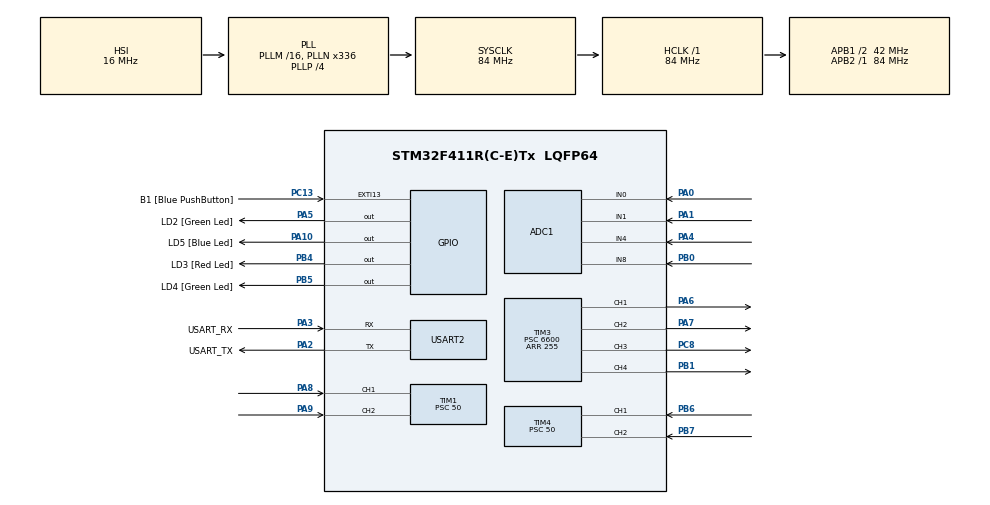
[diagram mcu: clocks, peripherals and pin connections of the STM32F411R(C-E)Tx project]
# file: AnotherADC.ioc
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ADC1.Channel-0\#ChannelRegularConversion=ADC_CHANNEL_0
ADC1.Channel-1\#ChannelRegularConversion=ADC_CHANNEL_1
ADC1.Channel-2\#ChannelRegularConversion=ADC_CHANNEL_4
ADC1.Channel-3\#ChannelRegularConversion=ADC_CHANNEL_8
ADC1.Channel-4\#ChannelRegularConversion=ADC_CHANNEL_TEMPSENSOR
ADC1.ContinuousConvMode=DISABLE
ADC1.NbrOfConversion=5
ADC1.NbrOfConversionFlag=1
ADC1.Rank-0\#ChannelRegularConversion=1
ADC1.Rank-1\#ChannelRegularConversion=2
ADC1.Rank-2\#ChannelRegularConversion=3
ADC1.Rank-3\#ChannelRegularConversion=4
ADC1.Rank-4\#ChannelRegularConversion=5
ADC1.SamplingTime-0\#ChannelRegularConversion=ADC_SAMPLETIME_480CYCLES
ADC1.SamplingTime-1\#ChannelRegularConversion=ADC_SAMPLETIME_480CYCLES
ADC1.SamplingTime-2\#ChannelRegularConversion=ADC_SAMPLETIME_480CYCLES
ADC1.SamplingTime-3\#ChannelRegularConversion=ADC_SAMPLETIME_480CYCLES
ADC1.SamplingTime-4\#ChannelRegularConversion=ADC_SAMPLETIME_480CYCLES
ADC1.ScanConvMode=ENABLE
ADC1.master=1
Dma.ADC1.0.Direction=DMA_PERIPH_TO_MEMORY
Dma.ADC1.0.FIFOMode=DMA_FIFOMODE_DISABLE
Dma.ADC1.0.Instance=DMA2_Stream0
Dma.ADC1.0.MemDataAlignment=DMA_MDATAALIGN_HALFWORD
Dma.ADC1.0.MemInc=DMA_MINC_ENABLE
Dma.ADC1.0.Mode=DMA_NORMAL
Dma.ADC1.0.PeriphDataAlignment=DMA_PDATAALIGN_HALFWORD
Dma.ADC1.0.PeriphInc=DMA_PINC_DISABLE
Dma.ADC1.0.Priority=DMA_PRIORITY_MEDIUM
Dma.Request0=ADC1
FREERTOS.Tasks01=defaultTask,24,128,StartDefaultTask,Default,NULL,Dynamic,NULL,NULL;motorsTask,8,128,StartTask02,Default,NULL,Dynamic,NULL,NULL
FREERTOS.configUSE_NEWLIB_REENTRANT=1
Mcu.Family=STM32F4
Mcu.Name=STM32F411R(C-E)Tx
Mcu.Package=LQFP64
NVIC.DMA2_Stream0_IRQn=true\:5\:0\:false\:false\:true\:true\:false\:true\:true
NVIC.PriorityGroup=NVIC_PRIORITYGROUP_4
NVIC.TIM1_CC_IRQn=true\:5\:0\:false\:false\:true\:true\:true\:true\:true
NVIC.TIM2_IRQn=true\:15\:0\:false\:false\:true\:false\:false\:true\:true
NVIC.TIM4_IRQn=true\:5\:0\:false\:false\:true\:true\:true\:true\:true
NVIC.TimeBase=TIM2_IRQn
NVIC.TimeBaseIP=TIM2
PA0-WKUP.Signal=ADCx_IN0
PA1.Signal=ADCx_IN1
PA10.GPIO_Label=LD5 [Blue Led]
PA10.Signal=GPIO_Output
PA13.GPIO_Label=TMS
PA13.Mode=Serial_Wire
PA13.Signal=SYS_JTMS-SWDIO
PA14.GPIO_Label=TCK
PA14.Mode=Serial_Wire
PA14.Signal=SYS_JTCK-SWCLK
PA2.GPIO_Label=USART_TX
PA2.Mode=Asynchronous
PA2.Signal=USART2_TX
PA3.GPIO_Label=USART_RX
PA3.Mode=Asynchronous
PA3.Signal=USART2_RX
PA4.Signal=ADCx_IN4
PA5.GPIO_Label=LD2 [Green Led]
PA5.Signal=GPIO_Output
PA6.Signal=S_TIM3_CH1
PA7.Signal=S_TIM3_CH2
PA8.Signal=S_TIM1_CH1
PA9.Signal=S_TIM1_CH2
PB0.Signal=ADCx_IN8
PB1.Signal=S_TIM3_CH4
PB3.GPIO_Label=SWO
PB3.Signal=SYS_JTDO-SWO
PB4.GPIO_Label=LD3 [Red Led]
PB4.Signal=GPIO_Output
PB5.GPIO_Label=LD4 [Green Led]
PB5.Signal=GPIO_Output
PB6.Signal=S_TIM4_CH1
PB7.Signal=S_TIM4_CH2
PC13-ANTI_TAMP.GPIO_Label=B1 [Blue PushButton]
PC13-ANTI_TAMP.GPIO_ModeDefaultEXTI=GPIO_MODE_IT_FALLING
PC13-ANTI_TAMP.Signal=GPXTI13
PC14-OSC32_IN.Mode=LSE-External-Oscillator
PC14-OSC32_IN.Signal=RCC_OSC32_IN
PC15-OSC32_OUT.Mode=LSE-External-Oscillator
PC15-OSC32_OUT.Signal=RCC_OSC32_OUT
PC8.Signal=S_TIM3_CH3
PH0\ -\ OSC_IN.Mode=HSE-External-Clock-Source
PH0\ -\ OSC_IN.Signal=RCC_OSC_IN
PH1\ -\ OSC_OUT.Mode=HSE-External-Clock-Source
PH1\ -\ OSC_OUT.Signal=RCC_OSC_OUT
ProjectManager.HeapSize=0x200
ProjectManager.StackSize=0x400
ProjectManager.TargetToolchain=STM32CubeIDE
RCC.48MHZClocksFreq_Value=84000000
RCC.AHBFreq_Value=84000000
RCC.APB1CLKDivider=RCC_HCLK_DIV2
RCC.APB1Freq_Value=42000000
RCC.APB1TimFreq_Value=84000000
RCC.APB2Freq_Value=84000000
RCC.APB2TimFreq_Value=84000000
RCC.CortexFreq_Value=84000000
RCC.FLatency-AdvancedSettings=FLASH_LATENCY_2
RCC.HCLKFreq_Value=84000000
RCC.HSE_VALUE=8000000
RCC.HSI_VALUE=16000000
RCC.PLLN=336
RCC.PLLP=RCC_PLLP_DIV4
RCC.SYSCLKFreq_VALUE=84000000
RCC.SYSCLKSource=RCC_SYSCLKSOURCE_PLLCLK
RCC.VCOOutputFreq_Value=336000000
SH.ADCx_IN0.0=ADC1_IN0,IN0
SH.ADCx_IN1.0=ADC1_IN1,IN1
SH.ADCx_IN4.0=ADC1_IN4,IN4
SH.ADCx_IN8.0=ADC1_IN8,IN8
SH.S_TIM1_CH1.0=TIM1_CH1,Encoder_Interface
SH.S_TIM1_CH2.0=TIM1_CH2,Encoder_Interface
SH.S_TIM3_CH1.0=TIM3_CH1,PWM Generation1 CH1
SH.S_TIM3_CH2.0=TIM3_CH2,PWM Generation2 CH2
SH.S_TIM3_CH3.0=TIM3_CH3,PWM Generation3 CH3
SH.S_TIM3_CH4.0=TIM3_CH4,PWM Generation4 CH4
SH.S_TIM4_CH1.0=TIM4_CH1,Encoder_Interface
SH.S_TIM4_CH2.0=TIM4_CH2,Encoder_Interface
TIM1.EncoderMode=TIM_ENCODERMODE_TI12
TIM1.IC1Polarity=TIM_ICPOLARITY_FALLING
TIM1.IC2Polarity=TIM_ICPOLARITY_FALLING
TIM1.Prescaler=50
TIM3.Channel-PWM\ Generation1\ CH1=TIM_CHANNEL_1
TIM3.Channel-PWM\ Generation2\ CH2=TIM_CHANNEL_2
TIM3.Channel-PWM\ Generation3\ CH3=TIM_CHANNEL_3
TIM3.Channel-PWM\ Generation4\ CH4=TIM_CHANNEL_4
TIM3.Period=255
TIM3.Prescaler=6600
TIM3.Pulse-PWM\ Generation1\ CH1=255
TIM3.Pulse-PWM\ Generation2\ CH2=200
TIM3.Pulse-PWM\ Generation3\ CH3=100
TIM3.Pulse-PWM\ Generation4\ CH4=50
TIM4.EncoderMode=TIM_ENCODERMODE_TI12
TIM4.IC1Polarity=TIM_ICPOLARITY_FALLING
TIM4.IC2Polarity=TIM_ICPOLARITY_FALLING
TIM4.Prescaler=50
USART2.VirtualMode=VM_ASYNC
VP_ADC1_TempSens_Input.Mode=IN-TempSens
VP_FREERTOS_VS_CMSIS_V2.Mode=CMSIS_V2
VP_SYS_VS_tim2.Mode=TIM2
VP_TIM3_VS_ClockSourceINT.Mode=Internal
board=NUCLEO-F411RE

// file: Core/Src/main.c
/* USER CODE BEGIN Header */
/**
  ******************************************************************************
  * @file           : main.c
  * @brief          : Main program body
  ******************************************************************************
  * @attention
  *
  * Copyright (c) 2025 STMicroelectronics.
  * All rights reserved.
  *
  * This software is licensed under terms that can be found in the LICENSE file
  * in the root directory of this software component.
  * If no LICENSE file comes with this software, it is provided AS-IS.
  *
  ******************************************************************************
  */
/* USER CODE END Header */
#include "main.h"
#include "cmsis_os.h"

/* USER CODE BEGIN Includes */

#include <stdio.h>
#include <string.h>

/* USER CODE END Includes */

ADC_HandleTypeDef hadc1;
DMA_HandleTypeDef hdma_adc1;

TIM_HandleTypeDef htim1;
TIM_HandleTypeDef htim3;
TIM_HandleTypeDef htim4;

UART_HandleTypeDef huart2;

/* Definitions for defaultTask */
osThreadId_t defaultTaskHandle;
const osThreadAttr_t defaultTask_attributes = {
  .name = "defaultTask",
  .stack_size = 128 * 4,
  .priority = (osPriority_t) osPriorityNormal,
};
/* Definitions for motorsTask */
osThreadId_t motorsTaskHandle;
const osThreadAttr_t motorsTask_attributes = {
  .name = "motorsTask",
  .stack_size = 128 * 4,
  .priority = (osPriority_t) osPriorityLow,
};
/* USER CODE BEGIN PV */

uint16_t   aDistH1=0;
uint16_t   aDistH2=0;
uint16_t   aDistL=0;
uint16_t   aDistR=0;
uint16_t   cTemp=0;
uint16_t   rawValues[5];
uint16_t   filteredValues[5];
char msg[20];
uint8_t  convCompleted=0;
int count = 0;
uint32_t leftMotorCounter = 0;
uint32_t rightMotorCounter = 0;

/* USER CODE END PV */

void SystemClock_Config(void);
static void MX_GPIO_Init(void);
static void MX_DMA_Init(void);
static void MX_USART2_UART_Init(void);
static void MX_ADC1_Init(void);
static void MX_TIM3_Init(void);
static void MX_TIM1_Init(void);
static void MX_TIM4_Init(void);
void StartDefaultTask(void *argument);
void StartTask02(void *argument);

/* USER CODE BEGIN PFP */

void DriveMotor(uint8_t channel, uint8_t dir, uint8_t speed); //channel 0 -left; 1 right. dir 0 forward; 1 backwards
void DriveMotorCL(uint8_t channel, uint8_t dir, uint8_t speed, uint32_t distance);

void NavGoForward(void); //go forward with lane centering finish when facing wall
void NavTurnLeft(void);
void NavTurnRight(void);

void StartExplore(void);

/* USER CODE END PFP */

/* USER CODE BEGIN 0 */

void HAL_ADC_ConvCpltCallback(ADC_HandleTypeDef *hadc)
{
	convCompleted=1;
}

void HAL_TIM_IC_CaptureCallback(TIM_HandleTypeDef *htim)
{
    if (htim->Instance == TIM1)            /* TIM1 interrupt */
    {
    	leftMotorCounter  = __HAL_TIM_GetCounter(htim);                     /* do your own processing */
    }
    else if (htim->Instance == TIM4)       /* TIM3 interrupt */
    {
    	rightMotorCounter = __HAL_TIM_GetCounter(htim);
    }
}

void DriveMotor(uint8_t channel, uint8_t dir, uint8_t speed )
{
	uint32_t pwm_period = __HAL_TIM_GET_AUTORELOAD(&htim3);  // Get ARR (Auto-Reload Register)
	uint32_t pulse = (pwm_period + 1) * speed / 100;
	if (channel) {
		//right motor
		HAL_TIM_PWM_Stop(&htim3, TIM_CHANNEL_2);
		HAL_TIM_PWM_Stop(&htim3, TIM_CHANNEL_4);
		if (dir) {
			//backwards
			__HAL_TIM_SET_COMPARE(&htim3, TIM_CHANNEL_2, pulse);
			HAL_TIM_PWM_Start(&htim3, TIM_CHANNEL_2);
			HAL_TIM_PWM_Stop(&htim3, TIM_CHANNEL_4);
		} else {
			//forward
			__HAL_TIM_SET_COMPARE(&htim3, TIM_CHANNEL_4, pulse);
			HAL_TIM_PWM_Stop(&htim3, TIM_CHANNEL_2);
			HAL_TIM_PWM_Start(&htim3, TIM_CHANNEL_4);
		}
	} else {
		//left motor
		HAL_TIM_PWM_Stop(&htim3, TIM_CHANNEL_1);
		HAL_TIM_PWM_Stop(&htim3, TIM_CHANNEL_3);
		if (dir) {
			//backwards
			__HAL_TIM_SET_COMPARE(&htim3, TIM_CHANNEL_1, pulse);
			HAL_TIM_PWM_Start(&htim3, TIM_CHANNEL_1);
			HAL_TIM_PWM_Stop(&htim3, TIM_CHANNEL_3);
		} else {
			//forward
			__HAL_TIM_SET_COMPARE(&htim3, TIM_CHANNEL_3, pulse);
			HAL_TIM_PWM_Stop(&htim3, TIM_CHANNEL_1);
			HAL_TIM_PWM_Start(&htim3, TIM_CHANNEL_3);
		}
	}
}

void DriveMotorCL(uint8_t channel, uint8_t dir, uint8_t speed, uint32_t distance)
{
	//how many counts per one wheel turn?
	//prevent counter from overflow
	//DriveMotor(channel, dir, speed);
}

void NavTurnLeft() {
	DriveMotor(0, 0, 50);
	DriveMotor(1, 1, 50);
	osDelay(240); //should read encoder steps
	DriveMotor(0, 1, 0);
	DriveMotor(1, 1, 0);
	// add backward spin on the other wheel
}

void NavTurnRight() {
	DriveMotor(0, 1, 50);
	DriveMotor(1, 0, 50);
	osDelay(240); //should read encoder steps
	DriveMotor(0, 1, 0);
	DriveMotor(1, 1, 0);
}

void NavGoForward()
{
	//check front sensors
	// run  with PID on left right sensorsa in loop
	//finish when facing wall
}

/* USER CODE END 0 */

int main(void)
{

  /* MCU Configuration--------------------------------------------------------*/

  /* Reset of all peripherals, Initializes the Flash interface and the Systick. */
  HAL_Init();

  /* Configure the system clock */
  SystemClock_Config();

  /* Initialize all configured peripherals */
  MX_GPIO_Init();
  MX_DMA_Init();
  MX_USART2_UART_Init();
  MX_ADC1_Init();
  MX_TIM3_Init();
  MX_TIM1_Init();
  MX_TIM4_Init();
  /* USER CODE BEGIN 2 */

  HAL_TIM_Encoder_Start_IT(&htim4, TIM_CHANNEL_ALL);
  HAL_TIM_Encoder_Start_IT(&htim1, TIM_CHANNEL_ALL);

  //HAL_ADC_Start_DMA(&hadc1, (uint16_t *)rawValues, 5);
  //THISWORKS
  //HAL_TIM_PWM_Stop(&htim3, TIM_CHANNEL_1);
 // HAL_TIM_PWM_Start(&htim3, TIM_CHANNEL_2);

  //HAL_TIM_PWM_Start(&htim3, TIM_CHANNEL_3);

  //Ahead motor left:
 // HAL_TIM_PWM_Start(&htim3, TIM_CHANNEL_1);
  //HAL_TIM_PWM_Stop(&htim3, TIM_CHANNEL_3);

  //Ahead motor right:
  //HAL_TIM_PWM_Start(&htim3, TIM_CHANNEL_2);
  //HAL_TIM_PWM_Stop(&htim3, TIM_CHANNEL_4);

  //HAL_TIM_PWM_
  //j = HAL_GPIO_ReadPin(GPIOC, B1_Pin);
  //if (j == 1 ) {
  //HAL_Delay(500);
  //HAL_GPIO_WritePin(GPIOA, , GPIO_PIN_RESET);
  //HAL_Delay(500);
  //HAL_GPIO_WritePin(GPIOA, LD2_Pin, GPIO_PIN_SET);
  //}else {
	//  HAL_GPIO_WritePin(GPIOA, LD2_Pin, GPIO_PIN_RESET);
	//  HAL_Delay(500);

  //}

  /* USER CODE END 2 */

  /* Init scheduler */
  osKernelInitialize();

  /* Create the thread(s) */
  /* creation of defaultTask */
  defaultTaskHandle = osThreadNew(StartDefaultTask, NULL, &defaultTask_attributes);

  /* creation of motorsTask */
  motorsTaskHandle = osThreadNew(StartTask02, NULL, &motorsTask_attributes);

  /* Start scheduler */
  osKernelStart();

  /* We should never get here as control is now taken by the scheduler */

  /* Infinite loop */
  while (1)
  {

    /* USER CODE BEGIN 3 */
	//  count ++;
	  convCompleted=0;
	  HAL_ADC_Start_DMA(&hadc1, (uint16_t *)rawValues, 5);
	  while(!convCompleted) {

	  }
	  //Filter_ADCs();

	//  printf("test \n");

	  //for(uint8_t i=0; i<hadc1.Init.NbrOfConversion; i++ ) {
	//	  aDistH1 = (uint16_t )  rawValues[0];
	//	  aDistH2 = (uint16_t )  rawValues[1];
	//	  aDistL = (uint16_t )  rawValues[2];
	//	  aDistR = (uint16_t )  rawValues[3];
	//	  cTemp = (uint16_t )  rawValues[4];
	//  //}
	 // HAL_ADC_Stop(&hadc1);

	//  sprintf(msg, "DistH1: %hu \r\t\t", aDistH1);
	  //HAL_UART_Transmit(&huart2, (uint8_t *) msg, strlen(msg), HAL_MAX_DELAY);

//	  sprintf(msg, "DistH2: %hu \r\n", aDistH2);
	//  HAL_UART_Transmit(&huart2, (uint8_t *) msg, strlen(msg), HAL_MAX_DELAY);

	//  sprintf(msg, "cTemp: %hu \r\n", cTemp);
	 // HAL_UART_Transmit(&huart2, (uint8_t *) msg, strlen(msg), HAL_MAX_DELAY);
	 if (count > 600) {
		 count = 1;
	 }
	 HAL_Delay(6);
  }
  /* USER CODE END 3 */
}

void SystemClock_Config(void)
{
  RCC_OscInitTypeDef RCC_OscInitStruct = {0};
  RCC_ClkInitTypeDef RCC_ClkInitStruct = {0};

  /** Configure the main internal regulator output voltage
  */
  __HAL_RCC_PWR_CLK_ENABLE();
  __HAL_PWR_VOLTAGESCALING_CONFIG(PWR_REGULATOR_VOLTAGE_SCALE1);

  /** Initializes the RCC Oscillators according to the specified parameters
  * in the RCC_OscInitTypeDef structure.
  */
  RCC_OscInitStruct.OscillatorType = RCC_OSCILLATORTYPE_HSI;
  RCC_OscInitStruct.HSIState = RCC_HSI_ON;
  RCC_OscInitStruct.HSICalibrationValue = RCC_HSICALIBRATION_DEFAULT;
  RCC_OscInitStruct.PLL.PLLState = RCC_PLL_ON;
  RCC_OscInitStruct.PLL.PLLSource = RCC_PLLSOURCE_HSI;
  RCC_OscInitStruct.PLL.PLLM = 16;
  RCC_OscInitStruct.PLL.PLLN = 336;
  RCC_OscInitStruct.PLL.PLLP = RCC_PLLP_DIV4;
  RCC_OscInitStruct.PLL.PLLQ = 4;
  if (HAL_RCC_OscConfig(&RCC_OscInitStruct) != HAL_OK)
  {
    Error_Handler();
  }

  /** Initializes the CPU, AHB and APB buses clocks
  */
  RCC_ClkInitStruct.ClockType = RCC_CLOCKTYPE_HCLK|RCC_CLOCKTYPE_SYSCLK
                              |RCC_CLOCKTYPE_PCLK1|RCC_CLOCKTYPE_PCLK2;
  RCC_ClkInitStruct.SYSCLKSource = RCC_SYSCLKSOURCE_PLLCLK;
  RCC_ClkInitStruct.AHBCLKDivider = RCC_SYSCLK_DIV1;
  RCC_ClkInitStruct.APB1CLKDivider = RCC_HCLK_DIV2;
  RCC_ClkInitStruct.APB2CLKDivider = RCC_HCLK_DIV1;

  if (HAL_RCC_ClockConfig(&RCC_ClkInitStruct, FLASH_LATENCY_2) != HAL_OK)
  {
    Error_Handler();
  }
}

static void MX_ADC1_Init(void)
{

  ADC_ChannelConfTypeDef sConfig = {0};

  /** Configure the global features of the ADC (Clock, Resolution, Data Alignment and number of conversion)
  */
  hadc1.Instance = ADC1;
  hadc1.Init.ClockPrescaler = ADC_CLOCK_SYNC_PCLK_DIV4;
  hadc1.Init.Resolution = ADC_RESOLUTION_12B;
  hadc1.Init.ScanConvMode = ENABLE;
  hadc1.Init.ContinuousConvMode = DISABLE;
  hadc1.Init.DiscontinuousConvMode = DISABLE;
  hadc1.Init.ExternalTrigConvEdge = ADC_EXTERNALTRIGCONVEDGE_NONE;
  hadc1.Init.ExternalTrigConv = ADC_SOFTWARE_START;
  hadc1.Init.DataAlign = ADC_DATAALIGN_RIGHT;
  hadc1.Init.NbrOfConversion = 5;
  hadc1.Init.DMAContinuousRequests = DISABLE;
  hadc1.Init.EOCSelection = ADC_EOC_SINGLE_CONV;
  if (HAL_ADC_Init(&hadc1) != HAL_OK)
  {
    Error_Handler();
  }

  /** Configure for the selected ADC regular channel its corresponding rank in the sequencer and its sample time.
  */
  sConfig.Channel = ADC_CHANNEL_0;
  sConfig.Rank = 1;
  sConfig.SamplingTime = ADC_SAMPLETIME_480CYCLES;
  if (HAL_ADC_ConfigChannel(&hadc1, &sConfig) != HAL_OK)
  {
    Error_Handler();
  }

  /** Configure for the selected ADC regular channel its corresponding rank in the sequencer and its sample time.
  */
  sConfig.Channel = ADC_CHANNEL_1;
  sConfig.Rank = 2;
  if (HAL_ADC_ConfigChannel(&hadc1, &sConfig) != HAL_OK)
  {
    Error_Handler();
  }

  /** Configure for the selected ADC regular channel its corresponding rank in the sequencer and its sample time.
  */
  sConfig.Channel = ADC_CHANNEL_4;
  sConfig.Rank = 3;
  if (HAL_ADC_ConfigChannel(&hadc1, &sConfig) != HAL_OK)
  {
    Error_Handler();
  }

  /** Configure for the selected ADC regular channel its corresponding rank in the sequencer and its sample time.
  */
  sConfig.Channel = ADC_CHANNEL_8;
  sConfig.Rank = 4;
  if (HAL_ADC_ConfigChannel(&hadc1, &sConfig) != HAL_OK)
  {
    Error_Handler();
  }

  /** Configure for the selected ADC regular channel its corresponding rank in the sequencer and its sample time.
  */
  sConfig.Channel = ADC_CHANNEL_TEMPSENSOR;
  sConfig.Rank = 5;
  if (HAL_ADC_ConfigChannel(&hadc1, &sConfig) != HAL_OK)
  {
    Error_Handler();
  }

}

static void MX_TIM1_Init(void)
{

  TIM_Encoder_InitTypeDef sConfig = {0};
  TIM_MasterConfigTypeDef sMasterConfig = {0};

  htim1.Instance = TIM1;
  htim1.Init.Prescaler = 50;
  htim1.Init.CounterMode = TIM_COUNTERMODE_UP;
  htim1.Init.Period = 65535;
  htim1.Init.ClockDivision = TIM_CLOCKDIVISION_DIV1;
  htim1.Init.RepetitionCounter = 0;
  htim1.Init.AutoReloadPreload = TIM_AUTORELOAD_PRELOAD_DISABLE;
  sConfig.EncoderMode = TIM_ENCODERMODE_TI12;
  sConfig.IC1Polarity = TIM_ICPOLARITY_FALLING;
  sConfig.IC1Selection = TIM_ICSELECTION_DIRECTTI;
  sConfig.IC1Prescaler = TIM_ICPSC_DIV1;
  sConfig.IC1Filter = 0;
  sConfig.IC2Polarity = TIM_ICPOLARITY_FALLING;
  sConfig.IC2Selection = TIM_ICSELECTION_DIRECTTI;
  sConfig.IC2Prescaler = TIM_ICPSC_DIV1;
  sConfig.IC2Filter = 0;
  if (HAL_TIM_Encoder_Init(&htim1, &sConfig) != HAL_OK)
  {
    Error_Handler();
  }
  sMasterConfig.MasterOutputTrigger = TIM_TRGO_RESET;
  sMasterConfig.MasterSlaveMode = TIM_MASTERSLAVEMODE_DISABLE;
  if (HAL_TIMEx_MasterConfigSynchronization(&htim1, &sMasterConfig) != HAL_OK)
  {
    Error_Handler();
  }

}

static void MX_TIM3_Init(void)
{

  TIM_ClockConfigTypeDef sClockSourceConfig = {0};
  TIM_MasterConfigTypeDef sMasterConfig = {0};
  TIM_OC_InitTypeDef sConfigOC = {0};

  htim3.Instance = TIM3;
  htim3.Init.Prescaler = 6600;
  htim3.Init.CounterMode = TIM_COUNTERMODE_UP;
  htim3.Init.Period = 255;
  htim3.Init.ClockDivision = TIM_CLOCKDIVISION_DIV1;
  htim3.Init.AutoReloadPreload = TIM_AUTORELOAD_PRELOAD_DISABLE;
  if (HAL_TIM_Base_Init(&htim3) != HAL_OK)
  {
    Error_Handler();
  }
  sClockSourceConfig.ClockSource = TIM_CLOCKSOURCE_INTERNAL;
  if (HAL_TIM_ConfigClockSource(&htim3, &sClockSourceConfig) != HAL_OK)
  {
    Error_Handler();
  }
  if (HAL_TIM_PWM_Init(&htim3) != HAL_OK)
  {
    Error_Handler();
  }
  sMasterConfig.MasterOutputTrigger = TIM_TRGO_RESET;
  sMasterConfig.MasterSlaveMode = TIM_MASTERSLAVEMODE_DISABLE;
  if (HAL_TIMEx_MasterConfigSynchronization(&htim3, &sMasterConfig) != HAL_OK)
  {
    Error_Handler();
  }
  sConfigOC.OCMode = TIM_OCMODE_PWM1;
  sConfigOC.Pulse = 255;
  sConfigOC.OCPolarity = TIM_OCPOLARITY_HIGH;
  sConfigOC.OCFastMode = TIM_OCFAST_DISABLE;
  if (HAL_TIM_PWM_ConfigChannel(&htim3, &sConfigOC, TIM_CHANNEL_1) != HAL_OK)
  {
    Error_Handler();
  }
  sConfigOC.Pulse = 200;
  if (HAL_TIM_PWM_ConfigChannel(&htim3, &sConfigOC, TIM_CHANNEL_2) != HAL_OK)
  {
    Error_Handler();
  }
  sConfigOC.Pulse = 100;
  if (HAL_TIM_PWM_ConfigChannel(&htim3, &sConfigOC, TIM_CHANNEL_3) != HAL_OK)
  {
    Error_Handler();
  }
  sConfigOC.Pulse = 50;
  if (HAL_TIM_PWM_ConfigChannel(&htim3, &sConfigOC, TIM_CHANNEL_4) != HAL_OK)
  {
    Error_Handler();
  }
  HAL_TIM_MspPostInit(&htim3);

}

static void MX_TIM4_Init(void)
{

  TIM_Encoder_InitTypeDef sConfig = {0};
  TIM_MasterConfigTypeDef sMasterConfig = {0};

  htim4.Instance = TIM4;
  htim4.Init.Prescaler = 50;
  htim4.Init.CounterMode = TIM_COUNTERMODE_UP;
  htim4.Init.Period = 65535;
  htim4.Init.ClockDivision = TIM_CLOCKDIVISION_DIV1;
  htim4.Init.AutoReloadPreload = TIM_AUTORELOAD_PRELOAD_DISABLE;
  sConfig.EncoderMode = TIM_ENCODERMODE_TI12;
  sConfig.IC1Polarity = TIM_ICPOLARITY_FALLING;
  sConfig.IC1Selection = TIM_ICSELECTION_DIRECTTI;
  sConfig.IC1Prescaler = TIM_ICPSC_DIV1;
  sConfig.IC1Filter = 0;
  sConfig.IC2Polarity = TIM_ICPOLARITY_FALLING;
  sConfig.IC2Selection = TIM_ICSELECTION_DIRECTTI;
  sConfig.IC2Prescaler = TIM_ICPSC_DIV1;
  sConfig.IC2Filter = 0;
  if (HAL_TIM_Encoder_Init(&htim4, &sConfig) != HAL_OK)
  {
    Error_Handler();
  }
  sMasterConfig.MasterOutputTrigger = TIM_TRGO_RESET;
  sMasterConfig.MasterSlaveMode = TIM_MASTERSLAVEMODE_DISABLE;
  if (HAL_TIMEx_MasterConfigSynchronization(&htim4, &sMasterConfig) != HAL_OK)
  {
    Error_Handler();
  }

}

static void MX_USART2_UART_Init(void)
{

  huart2.Instance = USART2;
  huart2.Init.BaudRate = 115200;
  huart2.Init.WordLength = UART_WORDLENGTH_8B;
  huart2.Init.StopBits = UART_STOPBITS_1;
  huart2.Init.Parity = UART_PARITY_NONE;
  huart2.Init.Mode = UART_MODE_TX_RX;
  huart2.Init.HwFlowCtl = UART_HWCONTROL_NONE;
  huart2.Init.OverSampling = UART_OVERSAMPLING_16;
  if (HAL_UART_Init(&huart2) != HAL_OK)
  {
    Error_Handler();
  }

}

static void MX_DMA_Init(void)
{

  /* DMA controller clock enable */
  __HAL_RCC_DMA2_CLK_ENABLE();

  /* DMA interrupt init */
  /* DMA2_Stream0_IRQn interrupt configuration */
  HAL_NVIC_SetPriority(DMA2_Stream0_IRQn, 5, 0);
  HAL_NVIC_EnableIRQ(DMA2_Stream0_IRQn);

}

static void MX_GPIO_Init(void)
{
  GPIO_InitTypeDef GPIO_InitStruct = {0};

  /* GPIO Ports Clock Enable */
  __HAL_RCC_GPIOC_CLK_ENABLE();
  __HAL_RCC_GPIOH_CLK_ENABLE();
  __HAL_RCC_GPIOA_CLK_ENABLE();
  __HAL_RCC_GPIOB_CLK_ENABLE();

  /*Configure GPIO pin Output Level */
  HAL_GPIO_WritePin(GPIOA, LD2_Pin|LD5_Pin, GPIO_PIN_RESET);

  /*Configure GPIO pin Output Level */
  HAL_GPIO_WritePin(GPIOB, LD3_Pin|LD4_Pin, GPIO_PIN_RESET);

  /*Configure GPIO pin : B1_Pin */
  GPIO_InitStruct.Pin = B1_Pin;
  GPIO_InitStruct.Mode = GPIO_MODE_IT_FALLING;
  GPIO_InitStruct.Pull = GPIO_NOPULL;
  HAL_GPIO_Init(B1_GPIO_Port, &GPIO_InitStruct);

  /*Configure GPIO pins : LD2_Pin LD5_Pin */
  GPIO_InitStruct.Pin = LD2_Pin|LD5_Pin;
  GPIO_InitStruct.Mode = GPIO_MODE_OUTPUT_PP;
  GPIO_InitStruct.Pull = GPIO_NOPULL;
  GPIO_InitStruct.Speed = GPIO_SPEED_FREQ_LOW;
  HAL_GPIO_Init(GPIOA, &GPIO_InitStruct);

  /*Configure GPIO pins : LD3_Pin LD4_Pin */
  GPIO_InitStruct.Pin = LD3_Pin|LD4_Pin;
  GPIO_InitStruct.Mode = GPIO_MODE_OUTPUT_PP;
  GPIO_InitStruct.Pull = GPIO_NOPULL;
  GPIO_InitStruct.Speed = GPIO_SPEED_FREQ_LOW;
  HAL_GPIO_Init(GPIOB, &GPIO_InitStruct);

}

/* USER CODE BEGIN 4 */

void Filter_ADCs(void) {
	for (int i = 0; i < sizeof(rawValues); i++) {
		filteredValues[i] = 0.2 * rawValues[i] + 0.8 * filteredValues[i];
	}
}

int _write(int file, char *ptr, int len) {
	(void) file;
	int DataIdx;

	for (DataIdx = 0; DataIdx < len; DataIdx++) {
		ITM_SendChar(*ptr++);
	}
	return len;
}

/* USER CODE END 4 */

void StartDefaultTask(void *argument)
{
  /* USER CODE BEGIN 5 */
  /* Infinite loop */
  for(;;)
  {
      osDelay(500);
	  HAL_GPIO_WritePin(GPIOA, LD5_Pin, GPIO_PIN_RESET);
	  HAL_GPIO_WritePin(GPIOB, LD3_Pin, GPIO_PIN_SET);
	  osDelay(500);
	  HAL_GPIO_WritePin(GPIOB, LD4_Pin, GPIO_PIN_SET);
	  HAL_GPIO_WritePin(GPIOB, LD3_Pin, GPIO_PIN_RESET);
	  osDelay(500);
	  HAL_GPIO_WritePin(GPIOA, LD5_Pin, GPIO_PIN_SET);
	  HAL_GPIO_WritePin(GPIOB, LD4_Pin, GPIO_PIN_RESET);
  }
  /* USER CODE END 5 */
}

void StartTask02(void *argument)
{
  /* USER CODE BEGIN StartTask02 */
  /* Infinite loop */
  for(;;)
  {
	//DriveMotor(0, 0, 50);
	//DriveMotor(1, 0, 50);
    //osDelay(500);
	//DriveMotor(0, 1, 0);
	//DriveMotor(1, 1, 0);
	//osDelay(800);
	//DriveMotor(1, 1, 50);
	//DriveMotor(0, 1, 50);
	//osDelay(500);
	//DriveMotor(0, 1, 0);
	//DriveMotor(1, 1, 0);
	osDelay(1500);
	NavTurnLeft();
	osDelay(4800);
	NavTurnRight();
  }
  /* USER CODE END StartTask02 */
}

void HAL_TIM_PeriodElapsedCallback(TIM_HandleTypeDef *htim)
{
  /* USER CODE BEGIN Callback 0 */
	if (htim->Instance == TIM1) {
		// Timer overflowed — add one "turn" of the timer
		//motor_turns++;
	} else if (htim->Instance == TIM4)       /* TIM3 interrupt */
	{
		//counterxxX2 = __HAL_TIM_GetCounter(htim);
	}
  /* USER CODE END Callback 0 */
  if (htim->Instance == TIM2)
  {
    HAL_IncTick();
  }
}

void Error_Handler(void)
{
  __disable_irq();
  while (1)
  {
  }
}
